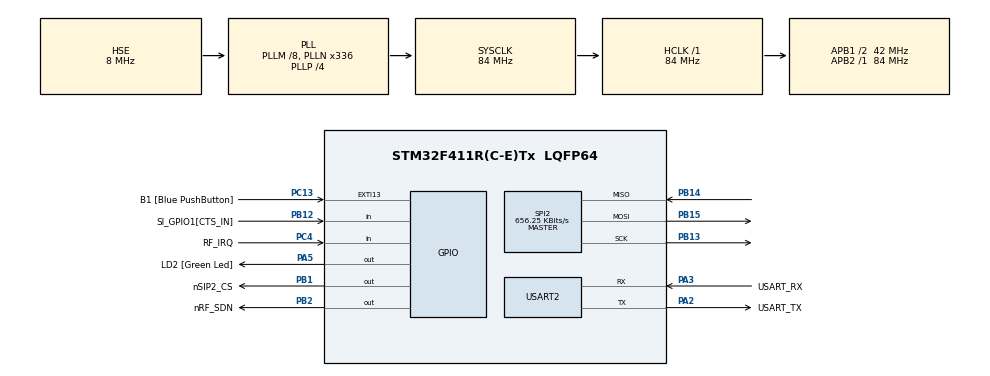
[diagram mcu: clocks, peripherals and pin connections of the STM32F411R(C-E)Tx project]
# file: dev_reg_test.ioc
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Dma.Request0=SPI2_TX
Dma.Request1=SPI2_RX
Dma.SPI2_RX.1.Direction=DMA_PERIPH_TO_MEMORY
Dma.SPI2_RX.1.FIFOMode=DMA_FIFOMODE_DISABLE
Dma.SPI2_RX.1.Instance=DMA1_Stream3
Dma.SPI2_RX.1.MemDataAlignment=DMA_MDATAALIGN_BYTE
Dma.SPI2_RX.1.MemInc=DMA_MINC_ENABLE
Dma.SPI2_RX.1.Mode=DMA_NORMAL
Dma.SPI2_RX.1.PeriphDataAlignment=DMA_PDATAALIGN_BYTE
Dma.SPI2_RX.1.PeriphInc=DMA_PINC_DISABLE
Dma.SPI2_RX.1.Priority=DMA_PRIORITY_LOW
Dma.SPI2_TX.0.Direction=DMA_MEMORY_TO_PERIPH
Dma.SPI2_TX.0.FIFOMode=DMA_FIFOMODE_DISABLE
Dma.SPI2_TX.0.Instance=DMA1_Stream4
Dma.SPI2_TX.0.MemDataAlignment=DMA_MDATAALIGN_BYTE
Dma.SPI2_TX.0.MemInc=DMA_MINC_ENABLE
Dma.SPI2_TX.0.Mode=DMA_NORMAL
Dma.SPI2_TX.0.PeriphDataAlignment=DMA_PDATAALIGN_BYTE
Dma.SPI2_TX.0.PeriphInc=DMA_PINC_DISABLE
Dma.SPI2_TX.0.Priority=DMA_PRIORITY_LOW
Mcu.Family=STM32F4
Mcu.Name=STM32F411R(C-E)Tx
Mcu.Package=LQFP64
NVIC.DMA1_Stream3_IRQn=true\:1\:0\:true\:false\:true\:false
NVIC.DMA1_Stream4_IRQn=true\:1\:0\:true\:false\:true\:false
NVIC.PriorityGroup=NVIC_PRIORITYGROUP_4
PA13.GPIO_Label=TMS
PA13.Mode=Trace_Asynchronous_SW
PA13.Signal=SYS_JTMS-SWDIO
PA14.GPIO_Label=TCK
PA14.Mode=Trace_Asynchronous_SW
PA14.Signal=SYS_JTCK-SWCLK
PA2.GPIO_Label=USART_TX
PA2.Mode=Asynchronous
PA2.Signal=USART2_TX
PA3.GPIO_Label=USART_RX
PA3.Mode=Asynchronous
PA3.Signal=USART2_RX
PA5.GPIO_Label=LD2 [Green Led]
PA5.Signal=GPIO_Output
PB1.GPIO_Label=nSIP2_CS
PB1.GPIO_PuPd=GPIO_PULLUP
PB1.PinState=GPIO_PIN_SET
PB1.Signal=GPIO_Output
PB12.GPIO_Label=SI_GPIO1[CTS_IN]
PB12.GPIO_PuPd=GPIO_PULLUP
PB12.Signal=GPIO_Input
PB13.GPIO_PuPd=GPIO_PULLDOWN
PB13.Mode=Full_Duplex_Master
PB13.Signal=SPI2_SCK
PB14.GPIO_PuPd=GPIO_PULLUP
PB14.Mode=Full_Duplex_Master
PB14.Signal=SPI2_MISO
PB15.GPIO_PuPd=GPIO_PULLUP
PB15.Mode=Full_Duplex_Master
PB15.Signal=SPI2_MOSI
PB2.GPIO_Label=nRF_SDN
PB2.GPIO_PuPd=GPIO_PULLUP
PB2.PinState=GPIO_PIN_SET
PB2.Signal=GPIO_Output
PB3.GPIO_Label=SWO
PB3.Mode=Trace_Asynchronous_SW
PB3.Signal=SYS_JTDO-SWO
PC13-ANTI_TAMP.GPIO_Label=B1 [Blue PushButton]
PC13-ANTI_TAMP.GPIO_ModeDefaultEXTI=GPIO_MODE_IT_FALLING
PC13-ANTI_TAMP.Signal=GPXTI13
PC14-OSC32_IN.Mode=LSE-External-Oscillator
PC14-OSC32_IN.Signal=RCC_OSC32_IN
PC15-OSC32_OUT.Mode=LSE-External-Oscillator
PC15-OSC32_OUT.Signal=RCC_OSC32_OUT
PC4.GPIO_Label=RF_IRQ
PC4.Signal=GPIO_Input
PH0\ -\ OSC_IN.Mode=HSE-External-Clock-Source
PH0\ -\ OSC_IN.Signal=RCC_OSC_IN
PH1\ -\ OSC_OUT.Mode=HSE-External-Clock-Source
PH1\ -\ OSC_OUT.Signal=RCC_OSC_OUT
ProjectManager.HeapSize=0x2000
ProjectManager.StackSize=0x4000
ProjectManager.TargetToolchain=MDK-ARM V5
RCC.48MHZClocksFreq_Value=84000000
RCC.AHBFreq_Value=84000000
RCC.APB1CLKDivider=RCC_HCLK_DIV2
RCC.APB1Freq_Value=42000000
RCC.APB1TimFreq_Value=84000000
RCC.APB2Freq_Value=84000000
RCC.APB2TimFreq_Value=84000000
RCC.CortexFreq_Value=84000000
RCC.FLatency-AdvancedSettings=FLASH_LATENCY_2
RCC.HCLKFreq_Value=84000000
RCC.HSE_VALUE=8000000
RCC.HSI_VALUE=16000000
RCC.PLLM=8
RCC.PLLN=336
RCC.PLLP=RCC_PLLP_DIV4
RCC.PLLSourceVirtual=RCC_PLLSOURCE_HSE
RCC.SYSCLKFreq_VALUE=84000000
RCC.SYSCLKSource=RCC_SYSCLKSOURCE_PLLCLK
RCC.VCOOutputFreq_Value=336000000
SPI2.BaudRatePrescaler=SPI_BAUDRATEPRESCALER_64
SPI2.CalculateBaudRate=656.25 KBits/s
SPI2.Direction=SPI_DIRECTION_2LINES
SPI2.Mode=SPI_MODE_MASTER
SPI2.VirtualType=VM_MASTER
USART2.VirtualMode=VM_ASYNC
board=NUCLEO-F411RE

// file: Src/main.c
/**
  ******************************************************************************
  * @file           : main.c
  * @brief          : Main program body
  ******************************************************************************
  ** This notice applies to any and all portions of this file
  * that are not between comment pairs USER CODE BEGIN and
  * USER CODE END. Other portions of this file, whether
  * inserted by the user or by software development tools
  * are owned by their respective copyright owners.
  *
  * COPYRIGHT(c) 2018 STMicroelectronics
  *
  * Redistribution and use in source and binary forms, with or without modification,
  * are permitted provided that the following conditions are met:
  *   1. Redistributions of source code must retain the above copyright notice,
  *      this list of conditions and the following disclaimer.
  *   2. Redistributions in binary form must reproduce the above copyright notice,
  *      this list of conditions and the following disclaimer in the documentation
  *      and/or other materials provided with the distribution.
  *   3. Neither the name of STMicroelectronics nor the names of its contributors
  *      may be used to endorse or promote products derived from this software
  *      without specific prior written permission.
  *
  * THIS SOFTWARE IS PROVIDED BY THE COPYRIGHT HOLDERS AND CONTRIBUTORS "AS IS"
  * AND ANY EXPRESS OR IMPLIED WARRANTIES, INCLUDING, BUT NOT LIMITED TO, THE
  * IMPLIED WARRANTIES OF MERCHANTABILITY AND FITNESS FOR A PARTICULAR PURPOSE ARE
  * DISCLAIMED. IN NO EVENT SHALL THE COPYRIGHT HOLDER OR CONTRIBUTORS BE LIABLE
  * FOR ANY DIRECT, INDIRECT, INCIDENTAL, SPECIAL, EXEMPLARY, OR CONSEQUENTIAL
  * DAMAGES (INCLUDING, BUT NOT LIMITED TO, PROCUREMENT OF SUBSTITUTE GOODS OR
  * SERVICES; LOSS OF USE, DATA, OR PROFITS; OR BUSINESS INTERRUPTION) HOWEVER
  * CAUSED AND ON ANY THEORY OF LIABILITY, WHETHER IN CONTRACT, STRICT LIABILITY,
  * OR TORT (INCLUDING NEGLIGENCE OR OTHERWISE) ARISING IN ANY WAY OUT OF THE USE
  * OF THIS SOFTWARE, EVEN IF ADVISED OF THE POSSIBILITY OF SUCH DAMAGE.
  *
  ******************************************************************************
  */
#include "main.h"
#include "stm32f4xx_hal.h"

/* USER CODE BEGIN Includes */
#include "string.h"
#include "radio_hal.h"
#include "radio.h"
/* USER CODE END Includes */

SPI_HandleTypeDef hspi2;
DMA_HandleTypeDef hdma_spi2_tx;
DMA_HandleTypeDef hdma_spi2_rx;

UART_HandleTypeDef huart2;

/* USER CODE BEGIN PV */
/* Private variables ---------------------------------------------------------*/
//uint8_t spi2_rx_buf[100],spi2_tx_buf[100];

/* USER CODE END PV */

void SystemClock_Config(void);
static void MX_GPIO_Init(void);
static void MX_DMA_Init(void);
static void MX_USART2_UART_Init(void);
static void MX_SPI2_Init(void);

/* USER CODE BEGIN PFP */
/* Private function prototypes -----------------------------------------------*/

/* USER CODE END PFP */

/* USER CODE BEGIN 0 */
#ifdef __GNUC__
 #define PUTCHAR_PROTOTYPE int __io_putchar(int ch)
#else
 #define PUTCHAR_PROTOTYPE int fputc(int ch, FILE *f)
#endif

PUTCHAR_PROTOTYPE
{
 HAL_UART_Transmit(&huart2, (uint8_t *)&ch, 1, 1);
 return ch;
}

void HAL_SPI_TxRxCpltCallback(SPI_HandleTypeDef *hspi)
{
	printf("spi tarnsceived complete~!!\r\n");
}

/* USER CODE END 0 */

int main(void)
{

  /* MCU Configuration----------------------------------------------------------*/

  /* Reset of all peripherals, Initializes the Flash interface and the Systick. */
  HAL_Init();

  /* Configure the system clock */
  SystemClock_Config();

  /* Initialize all configured peripherals */
  MX_GPIO_Init();
  MX_DMA_Init();
  MX_USART2_UART_Init();
  MX_SPI2_Init();
  /* USER CODE BEGIN 2 */

	HAL_Delay(500);
	printf("this test is spi test~!!\r\n");
	vRadio_Init();

  /* USER CODE END 2 */

  /* Infinite loop */
  /* USER CODE BEGIN WHILE */
	GPIO_PinState usr_sw_old,usr_sw;
	usr_sw = usr_sw_old = HAL_GPIO_ReadPin(B1_GPIO_Port,B1_Pin);

	sprintf((char *)fixRadioPacket,"rftest@");

  while (1)
  {
		usr_sw_old = usr_sw;
		usr_sw = HAL_GPIO_ReadPin(B1_GPIO_Port,B1_Pin);

		if (usr_sw != usr_sw_old)
		{
			if (usr_sw)
			{
				HAL_GPIO_WritePin(LD2_GPIO_Port,LD2_Pin,GPIO_PIN_SET);
				vRadio_StartTx(pRadioConfiguration->Radio_ChannelNumber,fixRadioPacket);
			}
		}
		HAL_Delay(100);
		HAL_GPIO_WritePin(LD2_GPIO_Port,LD2_Pin,GPIO_PIN_RESET);

  /* USER CODE END WHILE */

  }

}

void SystemClock_Config(void)
{

  RCC_OscInitTypeDef RCC_OscInitStruct;
  RCC_ClkInitTypeDef RCC_ClkInitStruct;

    /**Configure the main internal regulator output voltage
    */
  __HAL_RCC_PWR_CLK_ENABLE();

  __HAL_PWR_VOLTAGESCALING_CONFIG(PWR_REGULATOR_VOLTAGE_SCALE1);

    /**Initializes the CPU, AHB and APB busses clocks
    */
  RCC_OscInitStruct.OscillatorType = RCC_OSCILLATORTYPE_HSE;
  RCC_OscInitStruct.HSEState = RCC_HSE_BYPASS;
  RCC_OscInitStruct.PLL.PLLState = RCC_PLL_ON;
  RCC_OscInitStruct.PLL.PLLSource = RCC_PLLSOURCE_HSE;
  RCC_OscInitStruct.PLL.PLLM = 8;
  RCC_OscInitStruct.PLL.PLLN = 336;
  RCC_OscInitStruct.PLL.PLLP = RCC_PLLP_DIV4;
  RCC_OscInitStruct.PLL.PLLQ = 4;
  if (HAL_RCC_OscConfig(&RCC_OscInitStruct) != HAL_OK)
  {
    _Error_Handler(__FILE__, __LINE__);
  }

    /**Initializes the CPU, AHB and APB busses clocks
    */
  RCC_ClkInitStruct.ClockType = RCC_CLOCKTYPE_HCLK|RCC_CLOCKTYPE_SYSCLK
                              |RCC_CLOCKTYPE_PCLK1|RCC_CLOCKTYPE_PCLK2;
  RCC_ClkInitStruct.SYSCLKSource = RCC_SYSCLKSOURCE_PLLCLK;
  RCC_ClkInitStruct.AHBCLKDivider = RCC_SYSCLK_DIV1;
  RCC_ClkInitStruct.APB1CLKDivider = RCC_HCLK_DIV2;
  RCC_ClkInitStruct.APB2CLKDivider = RCC_HCLK_DIV1;

  if (HAL_RCC_ClockConfig(&RCC_ClkInitStruct, FLASH_LATENCY_2) != HAL_OK)
  {
    _Error_Handler(__FILE__, __LINE__);
  }

    /**Configure the Systick interrupt time
    */
  HAL_SYSTICK_Config(HAL_RCC_GetHCLKFreq()/1000);

    /**Configure the Systick
    */
  HAL_SYSTICK_CLKSourceConfig(SYSTICK_CLKSOURCE_HCLK);

  /* SysTick_IRQn interrupt configuration */
  HAL_NVIC_SetPriority(SysTick_IRQn, 0, 0);
}

/* SPI2 init function */
static void MX_SPI2_Init(void)
{

  /* SPI2 parameter configuration*/
  hspi2.Instance = SPI2;
  hspi2.Init.Mode = SPI_MODE_MASTER;
  hspi2.Init.Direction = SPI_DIRECTION_2LINES;
  hspi2.Init.DataSize = SPI_DATASIZE_8BIT;
  hspi2.Init.CLKPolarity = SPI_POLARITY_LOW;
  hspi2.Init.CLKPhase = SPI_PHASE_1EDGE;
  hspi2.Init.NSS = SPI_NSS_SOFT;
  hspi2.Init.BaudRatePrescaler = SPI_BAUDRATEPRESCALER_64;
  hspi2.Init.FirstBit = SPI_FIRSTBIT_MSB;
  hspi2.Init.TIMode = SPI_TIMODE_DISABLE;
  hspi2.Init.CRCCalculation = SPI_CRCCALCULATION_DISABLE;
  hspi2.Init.CRCPolynomial = 10;
  if (HAL_SPI_Init(&hspi2) != HAL_OK)
  {
    _Error_Handler(__FILE__, __LINE__);
  }

}

/* USART2 init function */
static void MX_USART2_UART_Init(void)
{

  huart2.Instance = USART2;
  huart2.Init.BaudRate = 115200;
  huart2.Init.WordLength = UART_WORDLENGTH_8B;
  huart2.Init.StopBits = UART_STOPBITS_1;
  huart2.Init.Parity = UART_PARITY_NONE;
  huart2.Init.Mode = UART_MODE_TX_RX;
  huart2.Init.HwFlowCtl = UART_HWCONTROL_NONE;
  huart2.Init.OverSampling = UART_OVERSAMPLING_16;
  if (HAL_UART_Init(&huart2) != HAL_OK)
  {
    _Error_Handler(__FILE__, __LINE__);
  }

}

static void MX_DMA_Init(void)
{
  /* DMA controller clock enable */
  __HAL_RCC_DMA1_CLK_ENABLE();

  /* DMA interrupt init */
  /* DMA1_Stream3_IRQn interrupt configuration */
  HAL_NVIC_SetPriority(DMA1_Stream3_IRQn, 1, 0);
  HAL_NVIC_EnableIRQ(DMA1_Stream3_IRQn);
  /* DMA1_Stream4_IRQn interrupt configuration */
  HAL_NVIC_SetPriority(DMA1_Stream4_IRQn, 1, 0);
  HAL_NVIC_EnableIRQ(DMA1_Stream4_IRQn);

}

/** Configure pins as
        * Analog
        * Input
        * Output
        * EVENT_OUT
        * EXTI
*/
static void MX_GPIO_Init(void)
{

  GPIO_InitTypeDef GPIO_InitStruct;

  /* GPIO Ports Clock Enable */
  __HAL_RCC_GPIOC_CLK_ENABLE();
  __HAL_RCC_GPIOH_CLK_ENABLE();
  __HAL_RCC_GPIOA_CLK_ENABLE();
  __HAL_RCC_GPIOB_CLK_ENABLE();

  /*Configure GPIO pin Output Level */
  HAL_GPIO_WritePin(LD2_GPIO_Port, LD2_Pin, GPIO_PIN_RESET);

  /*Configure GPIO pin Output Level */
  HAL_GPIO_WritePin(GPIOB, nSIP2_CS_Pin|nRF_SDN_Pin, GPIO_PIN_SET);

  /*Configure GPIO pin : B1_Pin */
  GPIO_InitStruct.Pin = B1_Pin;
  GPIO_InitStruct.Mode = GPIO_MODE_IT_FALLING;
  GPIO_InitStruct.Pull = GPIO_NOPULL;
  HAL_GPIO_Init(B1_GPIO_Port, &GPIO_InitStruct);

  /*Configure GPIO pin : LD2_Pin */
  GPIO_InitStruct.Pin = LD2_Pin;
  GPIO_InitStruct.Mode = GPIO_MODE_OUTPUT_PP;
  GPIO_InitStruct.Pull = GPIO_NOPULL;
  GPIO_InitStruct.Speed = GPIO_SPEED_FREQ_LOW;
  HAL_GPIO_Init(LD2_GPIO_Port, &GPIO_InitStruct);

  /*Configure GPIO pin : RF_IRQ_Pin */
  GPIO_InitStruct.Pin = RF_IRQ_Pin;
  GPIO_InitStruct.Mode = GPIO_MODE_INPUT;
  GPIO_InitStruct.Pull = GPIO_NOPULL;
  HAL_GPIO_Init(RF_IRQ_GPIO_Port, &GPIO_InitStruct);

  /*Configure GPIO pins : nSIP2_CS_Pin nRF_SDN_Pin */
  GPIO_InitStruct.Pin = nSIP2_CS_Pin|nRF_SDN_Pin;
  GPIO_InitStruct.Mode = GPIO_MODE_OUTPUT_PP;
  GPIO_InitStruct.Pull = GPIO_PULLUP;
  GPIO_InitStruct.Speed = GPIO_SPEED_FREQ_LOW;
  HAL_GPIO_Init(GPIOB, &GPIO_InitStruct);

  /*Configure GPIO pin : SI_GPIO1_Pin */
  GPIO_InitStruct.Pin = SI_GPIO1_Pin;
  GPIO_InitStruct.Mode = GPIO_MODE_INPUT;
  GPIO_InitStruct.Pull = GPIO_PULLUP;
  HAL_GPIO_Init(SI_GPIO1_GPIO_Port, &GPIO_InitStruct);

}

void _Error_Handler(char *file, int line)
{
  while(1)
  {
  }
}

/************************ (C) COPYRIGHT STMicroelectronics *****END OF FILE****/
